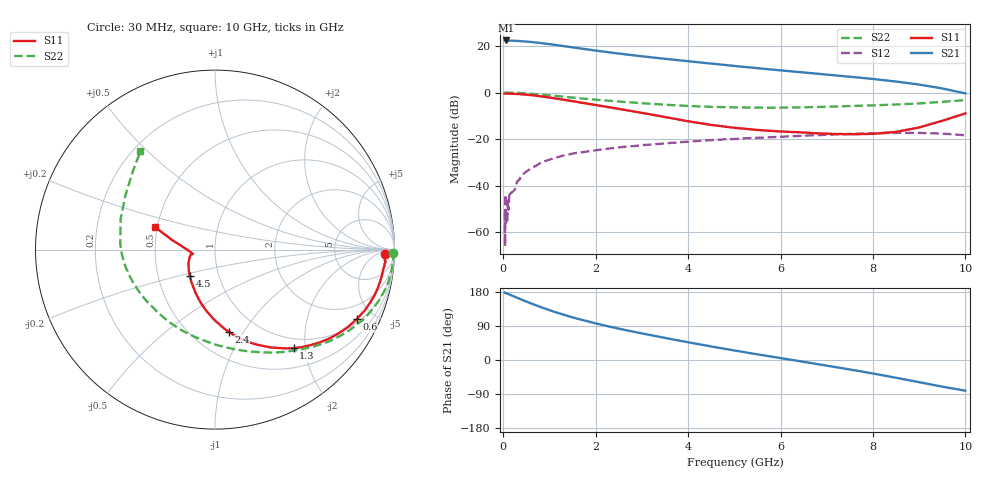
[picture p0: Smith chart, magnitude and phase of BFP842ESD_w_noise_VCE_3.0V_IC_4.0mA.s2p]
! (c) 2012  Infineon Technologies AG, Munich
! Infineon Technologies  Discrete & RF Semiconductors
! BFP842ESD
! VCE =  3.0 V,  IC =  4.0 mA
! Common Emitter S-Parameters:  May 2012
# GHz  S  MA  R  50
!  f  S11  S21  S12  S22
! GHz  MAG  ANG  MAG  ANG  MAG  ANG  MAG  ANG
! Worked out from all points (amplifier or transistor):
!   99 points, 30 MHz to 10 GHz, reference 50 ohm
!   highest |S21| = 22.4 dB at 60 MHz (marker M1)
!   |S21| within 3 dB of that: start of sweep to 1.513 GHz
!   unconditionally stable (mu >= 1): 3.907 GHz to end of sweep
!   at 350 MHz: K = 0.14, MSG = 29.8 dB, |S12| = -37.4 dB
!   at 3.5 GHz: K = 0.94, MSG = 18.2 dB, |S12| = -21.8 dB
!   at 10 GHz: K = 1.96, MAG = 3.4 dB, |S12| = -18.3 dB
!   lowest NFmin = 0.36 dB at 450 MHz
!   S11 on the Smith chart (normalised r, x): 30 MHz: 31, -14; 600 MHz: 1.16, -3.98; 1.3 GHz: 0.82, -1.78; 2.4 GHz: 0.74, -0.86; 4.5 GHz: 0.73, -0.22; 10 GHz: 0.49, +0.14
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0.03  0.948 -1.4  13.07 178.1  0.0027 -114.4  0.9935 -1.0
0.04  0.9493 -1.8  13.03 177.4  0.0005 21.8  0.9947 -1.0
0.05  0.9501 -2.3  12.95 176.7  0.0064 111.3  0.996 -1.7
0.06  0.9463 -2.7  13.16 176.2  0.0016 50.1  0.9976 -2.0
0.07  0.9483 -3.0  13.03 175.9  0.0028 130.8  0.9943 -2.1
0.09  0.9534 -3.9  12.89 175.1  0.0016 -35.7  0.9961 -2.7
0.1  0.9509 -4.5  13 174.6  0.0048 82.7  0.9937 -3.2
0.12  0.9495 -5.5  13.06 173.5  0.0031 81.6  0.9949 -4.1
0.14  0.9456 -6.2  13 172.6  0.0074 71.9  0.9923 -4.8
0.35  0.9255 -15.7  12.79 161.8  0.0135 78.5  0.9788 -12.0
0.6  0.8792 -26.2  12.18 149.4  0.0234 70.8  0.9421 -20.0
1  0.7804 -41.4  10.98 131.5  0.0361 60.6  0.8702 -31.4
1.3  0.7027 -51.4  9.981 119.9  0.0443 54.1  0.8145 -39.0
1.7  0.6036 -63.0  8.774 106.0  0.0521 47.8  0.7451 -47.6
2.4  0.464 -80.5  7.075 85.5  0.0643 38.0  0.6538 -61.4
2.9  0.3808 -92.1  6.174 72.6  0.072 32.7  0.6015 -71.0
3.4  0.3107 -104.2  5.444 60.7  0.0791 27.4  0.5565 -81.2
4.5  0.2016 -134.1  4.193 35.7  0.0948 16.1  0.494 -106.2
5.1  0.1709 -149.7  3.65 23.1  0.1019 9.5  0.4786 -119.8
6.7  0.1343 -168.5  2.591 -8.9  0.1204 -8.5  0.4866 -154.5
8.5  0.1429 -176.5  1.724 -46.9  0.1358 -35.9  0.5527 162.0
10  0.3566 159.4  0.96 -81.0  0.121 -65.7  0.6884 127.1
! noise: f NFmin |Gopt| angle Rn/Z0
0.45  0.36  0.47  2  0.13
0.9  0.39  0.49  8  0.13
1.5  0.43  0.47  21  0.12
1.9  0.44  0.44  30  0.12
2.4  0.48  0.41  44  0.11
3.5  0.62  0.3  80  0.09
4  0.68  0.25  99  0.09
5  0.74  0.23  117  0.08
5.5  0.89  0.22  140  0.08
6  1.04  0.21  152  0.08
